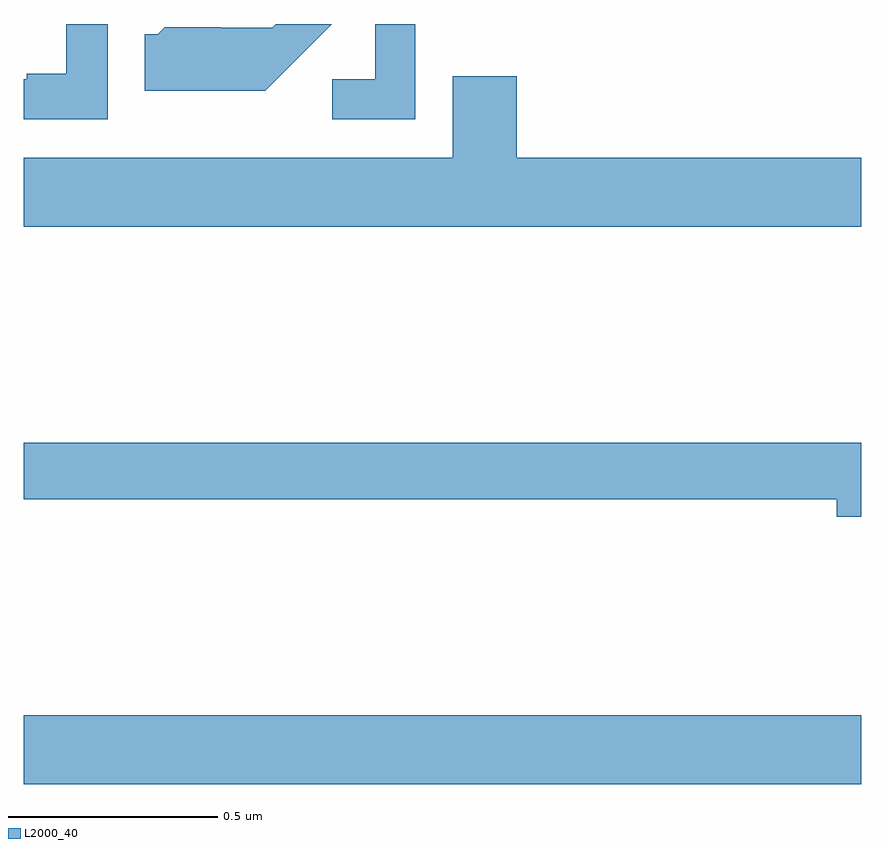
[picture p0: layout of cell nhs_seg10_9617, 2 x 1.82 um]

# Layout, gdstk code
import gdstk
lib = gdstk.Library(unit=1e-6, precision=1e-09)
def R(c, l, rs):  # rectangles x0, y0, x1, y1
    for r in rs: c.add(gdstk.rectangle(r[:2], r[2:], *l))
def P(c, l, *ps):  # polygons
    for p in ps: c.add(gdstk.Polygon(p, *l))
L2000_40 = (2000, 40)

nhs_seg10_9617 = lib.new_cell('nhs_seg10_9617')
R(nhs_seg10_9617, L2000_40, [(232,1265.684,234,1265.848)])
P(nhs_seg10_9617, L2000_40, [(232.2,1267.5),(232.101,1267.5),(232.101,1267.381),(232.007,1267.381),(232.007,1267.368),(232,1267.368),(232,1267.272),(232.2,1267.272)],
  [(232.657,1267.421),(232.735,1267.5),(232.602,1267.5),(232.593,1267.491),(232.47,1267.491),(232.47,1267.492),(232.336,1267.492),(232.32,1267.476),(232.289,1267.476),(232.289,1267.34),(232.577,1267.34)],
  [(232.935,1267.5),(232.839,1267.5),(232.839,1267.368),(232.737,1267.368),(232.737,1267.272),(232.935,1267.272)],
  [(234,1267.18),(233.177,1267.18),(233.177,1267.375),(233.024,1267.375),(233.024,1267.18),(232,1267.18),(232,1267.016),(234,1267.016)],
  [(234,1266.5),(232,1266.5),(232,1266.364),(233.942,1266.364),(233.942,1266.322),(234,1266.322)])

lib.write_gds('nhs_seg10_9617.gds')
